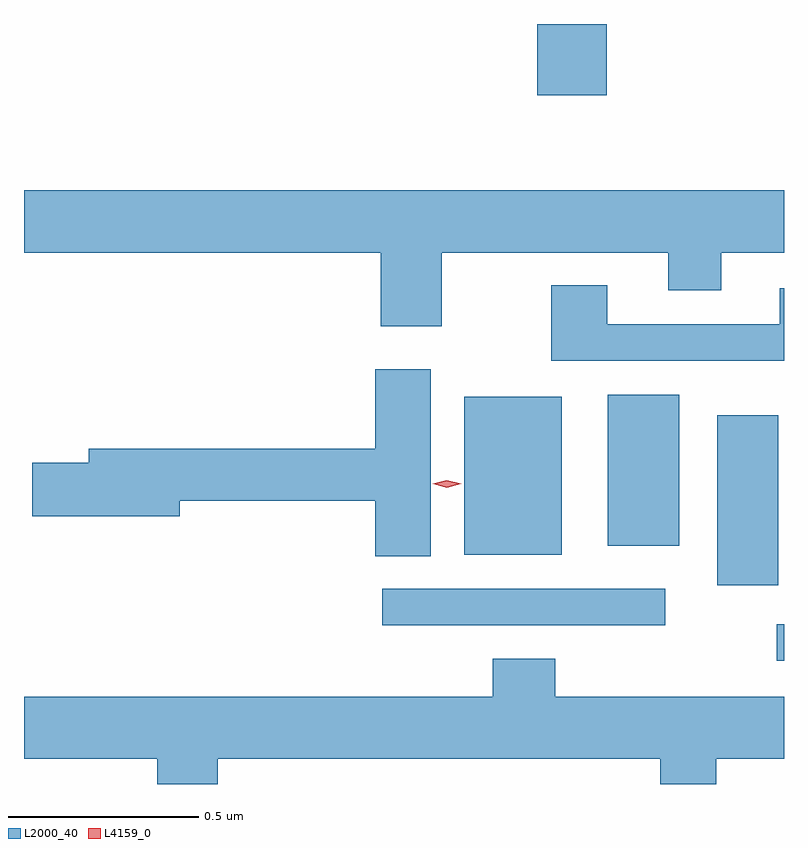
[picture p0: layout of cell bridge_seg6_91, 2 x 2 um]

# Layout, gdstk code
import gdstk
lib = gdstk.Library(unit=1e-6, precision=1e-09)
def R(c, l, rs):  # rectangles x0, y0, x1, y1
    for r in rs: c.add(gdstk.rectangle(r[:2], r[2:], *l))
def P(c, l, *ps):  # polygons
    for p in ps: c.add(gdstk.Polygon(p, *l))
L2000_40 = (2000, 40)
L4159_0 = (4159, 0)

bridge_seg6_91 = lib.new_cell('bridge_seg6_91')
R(bridge_seg6_91, L2000_40, [(870.813,987.555,870.832,987.651), (869.775,987.648,870.52,987.744), (870.656,987.753,870.817,988.201), (869.99,987.833,870.247,988.249), (870.368,987.857,870.556,988.255), (870.182,989.043,870.365,989.23)])
P(bridge_seg6_91, L2000_40, [(869.931,988.628),(870.527,988.628),(870.527,988.529),(870.667,988.529),(870.667,988.628),(870.832,988.628),(870.832,988.792),(868.832,988.792),(868.832,988.628),(869.771,988.628),(869.771,988.434),(869.931,988.434)],
  [(870.832,988.534),(870.821,988.534),(870.821,988.44),(870.367,988.44),(870.367,988.543),(870.22,988.543),(870.22,988.344),(870.832,988.344)],
  [(869.902,988.321),(869.756,988.321),(869.756,988.112),(869.003,988.112),(869.003,988.076),(868.854,988.076),(868.854,987.934),(869.242,987.934),(869.242,987.976),(869.756,987.976),(869.756,987.829),(869.902,987.829)],
  [(869.342,987.296),(870.506,987.296),(870.506,987.23),(870.654,987.23),(870.654,987.296),(870.832,987.296),(870.832,987.46),(870.23,987.46),(870.23,987.559),(870.065,987.559),(870.065,987.46),(868.832,987.46),(868.832,987.296),(869.182,987.296),(869.182,987.23),(869.342,987.23)])
P(bridge_seg6_91, L4159_0, [(869.945,988.01),(869.907,988.02),(869.907,988.02),(869.907,988.02),(869.945,988.03),(869.982,988.02),(869.982,988.02),(869.982,988.02)])

lib.write_gds('bridge_seg6_91.gds')
